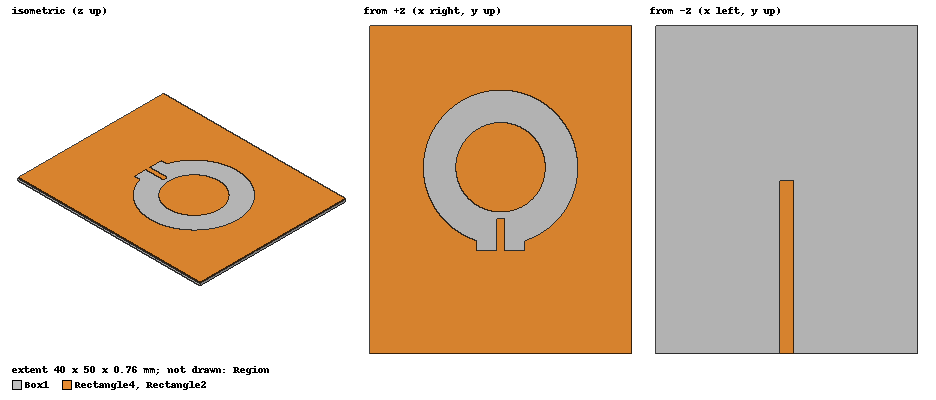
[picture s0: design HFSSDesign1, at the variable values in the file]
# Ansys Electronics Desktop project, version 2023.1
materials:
  vacuum: permittivity=1
  Rogers RO4003 (tm): permittivity=3.55 dielectric_loss_tangent=0.0027

design HFSSDesign1 (HFSS, HFSS Modal Network, model units mm)
options: Save_Adaptive_support_files
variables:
  lf = 26.3mm
  ld = 5.87mm
  wd = 1.16mm
  r0 = 11.76mm
  s = 4.94mm
  Sd = 3.08mm
  o = 4.73mm
  g = 1mm
  L = 50mm
  W = 40mm
  h = 0.76mm
  wf = 2mm
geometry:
  Box1 [Rogers RO4003 (tm)] = box(corner=(-W/2, 0mm, 0mm), size=(W, L, h))
  Circle1 = circle(normal=Z, centre=(0mm, lf-o+r0-s, h), radius=r0-s)
  Circle2 = circle(normal=Z, centre=(0mm, lf-o+r0-s, h), radius=r0)
  Rectangle1 = rectangle(corner=(-(wd/2+Sd), (lf-o-ld), h), x_size=Sd, y_size=ld-g)
  Rectangle2 = rectangle(corner=(-wf/2, 0mm, 0mm), x_size=wf, y_size=lf)
  Rectangle1_1 = Rectangle1.duplicate_mirror(point=(0mm, 0mm, 0mm), normal=(1mm, 0mm, 0mm))
  Rectangle3 = rectangle(corner=(-(wd/2), (lf-o-ld), h), x_size=wd, y_size=ld-g)
  Rectangle1_2 = Rectangle1.copy()
  Rectangle1_1_1 = Rectangle1_1.copy()
  Circle2.subtract(Rectangle1_2, Rectangle1_1_1)
  Circle2.subtract(Rectangle3)
  Circle2.unite(Rectangle1, Rectangle1_1)
  Circle2.subtract(Circle1)
  Rectangle4 = rectangle(corner=(-W/2, 0mm, h), x_size=W, y_size=L)
  Rectangle4.subtract(Circle2)
  Rectangle5 = rectangle(corner=(-wf/2, 0mm, 0mm), z_size=h, x_size=wf)
  Region [vacuum] = region(absolute_offset=10mm on all sides)
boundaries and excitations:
  PerfE1: Perfect E Objects=Rectangle2
  PerfE2: Perfect E Objects=Rectangle4
  Rad1: Radiation Objects=Region
  1: Lumped Port Objects=Rectangle5 LumpedPortType=Modal Modes{Mode1{IntLine{(0, 0, 0) -> (0, 0, 0.76)} CharImp=Zpi RenormImp=50ohm}} Impedance=50ohm
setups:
  Setup1: HfssDriven Frequency=3.4GHz MaxDeltaS=0.02 MaximumPasses=6 MinimumPasses=1 MinimumConvergedPasses=1 PercentRefinement=30 BasisOrder=1 PortAccuracy=2 DrivenSolverType="Direct Solver"
    sweep Sweep: 2GHz to 5GHz step 0.02GHz; Type=Fast SaveFields
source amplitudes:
  1:1: 1W 0deg
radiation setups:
  planeE: Infinite Sphere Theta=90deg..90deg step 90deg Phi=-180deg..180deg step 2deg
  planeH: Infinite Sphere Theta=-180deg..180deg step 2deg Phi=90deg..90deg step 2deg
  3D: Infinite Sphere Theta=-180deg..180deg step 2deg Phi=-180deg..180deg step 2deg
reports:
  S Parameter Plot 1: dB(S(1,1)) vs Freq on Setup1 : Sweep
  Gain Plot E: dB(GainTotal) vs Phi on Setup1 : Sweep, planeE [Theta=all Freq=3.4GHz]
  Gain Plot 4: dB(GainTotal) vs Phi, Theta on Setup1 : Sweep, 3D [Freq=3.4GHz]
  Gain Plot H: dB(GainTotal) vs Theta on Setup1 : Sweep, planeH [Phi=all Freq=3.4GHz]
